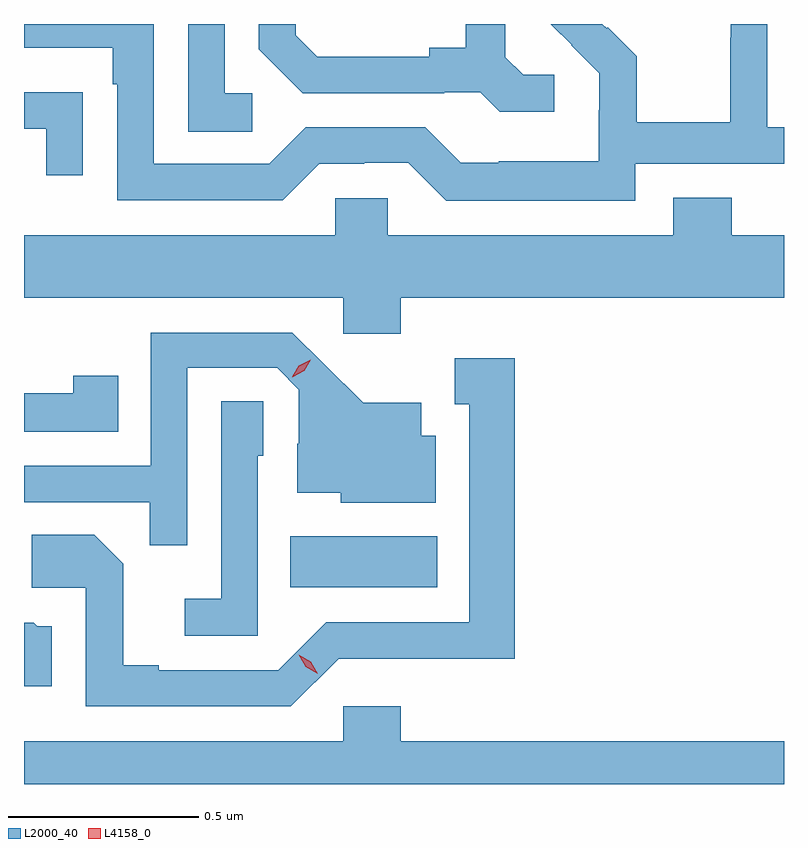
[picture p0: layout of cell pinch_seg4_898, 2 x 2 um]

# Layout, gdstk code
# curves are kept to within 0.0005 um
import gdstk
lib = gdstk.Library(unit=1e-6, precision=1e-09)
def R(c, l, rs):  # rectangles x0, y0, x1, y1
    for r in rs: c.add(gdstk.rectangle(r[:2], r[2:], *l))
def P(c, l, *ps):  # polygons
    for p in ps: c.add(gdstk.Polygon(p, *l))
L2000_40 = (2000, 40)
L4158_0 = (4158, 0)

pinch_seg4_898 = lib.new_cell('pinch_seg4_898')
R(pinch_seg4_898, L2000_40, [(760.522,822.698,760.909,822.832), (760.668,824.179,760.813,824.18)])
P(pinch_seg4_898, L2000_40, [(761.43,823.812),(761.822,823.812),(761.822,823.908),(761.778,823.908),(761.778,824.18),(761.682,824.18),(761.682,824.144),(761.68,824.144),(761.68,823.921),(761.435,823.921),(761.435,824.095),(761.358,824.172),(761.355,824.169),(761.344,824.18),(761.208,824.18),(761.263,824.125),(761.262,824.124),(761.336,824.05),(761.336,823.953),(761.334,823.953),(761.334,823.819),(761.071,823.819),(761.071,823.815),(760.971,823.815),(760.878,823.908),(760.563,823.908),(760.467,823.812),(760.164,823.812),(760.164,824.18),(759.822,824.18),(759.822,824.118),(760.055,824.118),(760.055,824.021),(760.068,824.021),(760.068,823.716),(760.503,823.716),(760.599,823.812),(760.718,823.812),(760.718,823.815),(760.833,823.815),(760.933,823.715),(761.43,823.715)],
  [(760.423,823.998),(760.35,823.998),(760.35,824.18),(760.254,824.18),(760.254,823.897),(760.423,823.897)],
  [(761.218,824.046),(761.136,824.046),(761.089,824.093),(761.089,824.18),(760.985,824.18),(760.985,824.117),(760.889,824.117),(760.889,824.094),(760.594,824.094),(760.537,824.151),(760.537,824.18),(760.44,824.18),(760.44,824.114),(760.556,823.998),(760.928,823.998),(760.928,824.001),(761.022,824.001),(761.074,823.949),(761.218,823.949)],
  [(759.977,824),(759.875,824),(759.875,824.001),(759.822,824.001),(759.822,823.905),(759.881,823.905),(759.881,823.782),(759.977,823.782)],
  [(760.814,823.46),(761.822,823.46),(761.822,823.624),(761.684,823.624),(761.684,823.723),(761.531,823.723),(761.531,823.624),(760.779,823.624),(760.779,823.722),(760.641,823.722),(760.641,823.624),(759.822,823.624),(759.822,823.46),(760.662,823.46),(760.662,823.365),(760.814,823.365)],
  [(760.251,823.275),(760.488,823.275),(760.545,823.218),(760.545,823.076),(760.541,823.076),(760.541,822.947),(760.656,822.947),(760.656,822.92),(760.906,822.92),(760.906,823.096),(760.867,823.096),(760.867,823.183),(760.715,823.183),(760.528,823.368),(760.155,823.368),(760.155,823.017),(759.822,823.017),(759.822,822.921),(760.153,822.921),(760.153,822.808),(760.251,822.808)],
  [(760.65,822.51),(760.872,822.51),(760.872,822.509),(761.113,822.509),(761.113,823.3),(760.955,823.3),(760.955,823.179),(760.994,823.179),(760.994,822.606),(760.617,822.606),(760.491,822.48),(760.177,822.48),(760.177,822.493),(760.083,822.493),(760.083,822.76),(760.007,822.836),(759.843,822.836),(759.843,822.696),(759.984,822.696),(759.984,822.384),(760.524,822.384)],
  [(760.07,823.255),(759.952,823.255),(759.952,823.208),(759.822,823.208),(759.822,823.107),(760.07,823.107)],
  [(760.437,823.044),(760.452,823.044),(760.452,823.187),(760.341,823.187),(760.341,822.667),(760.245,822.667),(760.245,822.57),(760.437,822.57)],
  [(759.895,822.595),(759.857,822.595),(759.848,822.604),(759.822,822.604),(759.822,822.437),(759.895,822.437)],
  [(761.822,822.292),(760.814,822.292),(760.814,822.385),(760.662,822.385),(760.662,822.292),(759.822,822.292),(759.822,822.18),(761.822,822.18)])
P(pinch_seg4_898, L4158_0, [(760.595,822.47),(760.563,822.488),(760.545,822.52),(760.545,822.52),(760.545,822.52),(760.577,822.502),(760.595,822.47),(760.595,822.47)],
  [(760.528,823.251),(760.528,823.252),(760.545,823.281),(760.576,823.296),(760.576,823.296),(760.576,823.296),(760.559,823.267),(760.528,823.251)])

lib.write_gds('pinch_seg4_898.gds')
